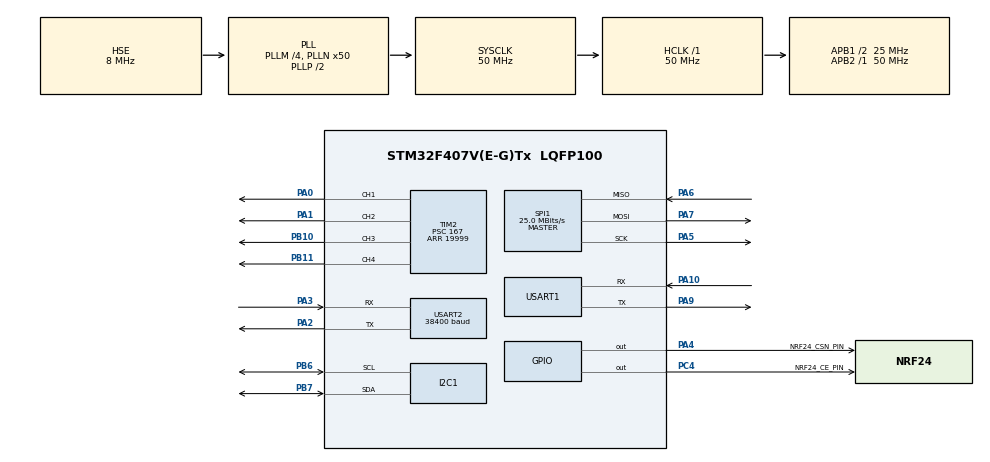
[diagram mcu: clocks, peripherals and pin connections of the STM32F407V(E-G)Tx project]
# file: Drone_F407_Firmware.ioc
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Dma.I2C1_RX.0.Direction=DMA_PERIPH_TO_MEMORY
Dma.I2C1_RX.0.FIFOMode=DMA_FIFOMODE_DISABLE
Dma.I2C1_RX.0.Instance=DMA1_Stream0
Dma.I2C1_RX.0.MemDataAlignment=DMA_MDATAALIGN_BYTE
Dma.I2C1_RX.0.MemInc=DMA_MINC_ENABLE
Dma.I2C1_RX.0.Mode=DMA_NORMAL
Dma.I2C1_RX.0.PeriphDataAlignment=DMA_PDATAALIGN_BYTE
Dma.I2C1_RX.0.PeriphInc=DMA_PINC_DISABLE
Dma.I2C1_RX.0.Priority=DMA_PRIORITY_LOW
Dma.I2C1_TX.1.Direction=DMA_MEMORY_TO_PERIPH
Dma.I2C1_TX.1.FIFOMode=DMA_FIFOMODE_DISABLE
Dma.I2C1_TX.1.Instance=DMA1_Stream7
Dma.I2C1_TX.1.MemDataAlignment=DMA_MDATAALIGN_BYTE
Dma.I2C1_TX.1.MemInc=DMA_MINC_ENABLE
Dma.I2C1_TX.1.Mode=DMA_NORMAL
Dma.I2C1_TX.1.PeriphDataAlignment=DMA_PDATAALIGN_BYTE
Dma.I2C1_TX.1.PeriphInc=DMA_PINC_DISABLE
Dma.I2C1_TX.1.Priority=DMA_PRIORITY_LOW
Dma.Request0=I2C1_RX
Dma.Request1=I2C1_TX
Dma.Request2=USART1_RX
Dma.Request3=USART1_TX
Dma.Request4=USART2_RX
Dma.Request5=USART2_TX
Dma.USART1_RX.2.Direction=DMA_PERIPH_TO_MEMORY
Dma.USART1_RX.2.FIFOMode=DMA_FIFOMODE_DISABLE
Dma.USART1_RX.2.Instance=DMA2_Stream2
Dma.USART1_RX.2.MemDataAlignment=DMA_MDATAALIGN_BYTE
Dma.USART1_RX.2.MemInc=DMA_MINC_ENABLE
Dma.USART1_RX.2.Mode=DMA_NORMAL
Dma.USART1_RX.2.PeriphDataAlignment=DMA_PDATAALIGN_BYTE
Dma.USART1_RX.2.PeriphInc=DMA_PINC_DISABLE
Dma.USART1_RX.2.Priority=DMA_PRIORITY_LOW
Dma.USART1_TX.3.Direction=DMA_MEMORY_TO_PERIPH
Dma.USART1_TX.3.FIFOMode=DMA_FIFOMODE_DISABLE
Dma.USART1_TX.3.Instance=DMA2_Stream7
Dma.USART1_TX.3.MemDataAlignment=DMA_MDATAALIGN_BYTE
Dma.USART1_TX.3.MemInc=DMA_MINC_ENABLE
Dma.USART1_TX.3.Mode=DMA_NORMAL
Dma.USART1_TX.3.PeriphDataAlignment=DMA_PDATAALIGN_BYTE
Dma.USART1_TX.3.PeriphInc=DMA_PINC_DISABLE
Dma.USART1_TX.3.Priority=DMA_PRIORITY_LOW
Dma.USART2_RX.4.Direction=DMA_PERIPH_TO_MEMORY
Dma.USART2_RX.4.FIFOMode=DMA_FIFOMODE_DISABLE
Dma.USART2_RX.4.Instance=DMA1_Stream5
Dma.USART2_RX.4.MemDataAlignment=DMA_MDATAALIGN_BYTE
Dma.USART2_RX.4.MemInc=DMA_MINC_ENABLE
Dma.USART2_RX.4.Mode=DMA_NORMAL
Dma.USART2_RX.4.PeriphDataAlignment=DMA_PDATAALIGN_BYTE
Dma.USART2_RX.4.PeriphInc=DMA_PINC_DISABLE
Dma.USART2_RX.4.Priority=DMA_PRIORITY_LOW
Dma.USART2_TX.5.Direction=DMA_MEMORY_TO_PERIPH
Dma.USART2_TX.5.FIFOMode=DMA_FIFOMODE_DISABLE
Dma.USART2_TX.5.Instance=DMA1_Stream6
Dma.USART2_TX.5.MemDataAlignment=DMA_MDATAALIGN_BYTE
Dma.USART2_TX.5.MemInc=DMA_MINC_ENABLE
Dma.USART2_TX.5.Mode=DMA_NORMAL
Dma.USART2_TX.5.PeriphDataAlignment=DMA_PDATAALIGN_BYTE
Dma.USART2_TX.5.PeriphInc=DMA_PINC_DISABLE
Dma.USART2_TX.5.Priority=DMA_PRIORITY_LOW
FREERTOS.Tasks01=defaultTask,0,128,StartDefaultTask,Default,NULL,Dynamic,NULL,NULL
FREERTOS.configTOTAL_HEAP_SIZE=16384
Mcu.Family=STM32F4
Mcu.Name=STM32F407V(E-G)Tx
Mcu.Package=LQFP100
NVIC.DMA1_Stream0_IRQn=true\:5\:0\:false\:false\:true\:true\:false\:true\:true
NVIC.DMA1_Stream5_IRQn=true\:5\:0\:false\:false\:true\:true\:false\:true\:true
NVIC.DMA1_Stream6_IRQn=true\:5\:0\:false\:false\:true\:true\:false\:true\:true
NVIC.DMA1_Stream7_IRQn=true\:5\:0\:false\:false\:true\:false\:false\:true\:true
NVIC.DMA2_Stream2_IRQn=true\:5\:0\:false\:false\:true\:true\:false\:true\:true
NVIC.DMA2_Stream7_IRQn=true\:5\:0\:false\:false\:true\:true\:false\:true\:true
NVIC.PriorityGroup=NVIC_PRIORITYGROUP_4
NVIC.TIM7_IRQn=true\:15\:0\:false\:false\:true\:false\:false\:true\:true
NVIC.TimeBase=TIM7_IRQn
NVIC.TimeBaseIP=TIM7
NVIC.USART1_IRQn=true\:5\:0\:false\:false\:true\:true\:false\:true\:true
NVIC.USART2_IRQn=true\:5\:0\:false\:false\:true\:true\:false\:true\:true
PA0-WKUP.Signal=S_TIM2_CH1_ETR
PA1.Signal=S_TIM2_CH2
PA10.Mode=Asynchronous
PA10.Signal=USART1_RX
PA13.Mode=Serial_Wire
PA13.Signal=SYS_JTMS-SWDIO
PA14.Mode=Serial_Wire
PA14.Signal=SYS_JTCK-SWCLK
PA2.Mode=Asynchronous
PA2.Signal=USART2_TX
PA3.Mode=Asynchronous
PA3.Signal=USART2_RX
PA4.GPIO_Label=NRF24_CSN_PIN
PA4.Signal=GPIO_Output
PA5.Mode=Full_Duplex_Master
PA5.Signal=SPI1_SCK
PA6.Mode=Full_Duplex_Master
PA6.Signal=SPI1_MISO
PA7.Mode=Full_Duplex_Master
PA7.Signal=SPI1_MOSI
PA9.Mode=Asynchronous
PA9.Signal=USART1_TX
PB10.Signal=S_TIM2_CH3
PB11.Signal=S_TIM2_CH4
PB6.Mode=I2C
PB6.Signal=I2C1_SCL
PB7.Mode=I2C
PB7.Signal=I2C1_SDA
PC4.GPIO_Label=NRF24_CE_PIN
PC4.Signal=GPIO_Output
PH0-OSC_IN.Mode=HSE-External-Oscillator
PH0-OSC_IN.Signal=RCC_OSC_IN
PH1-OSC_OUT.Mode=HSE-External-Oscillator
PH1-OSC_OUT.Signal=RCC_OSC_OUT
ProjectManager.HeapSize=0x200
ProjectManager.StackSize=0x400
ProjectManager.TargetToolchain=CMake
RCC.48MHZClocksFreq_Value=25000000
RCC.AHBFreq_Value=50000000
RCC.APB1CLKDivider=RCC_HCLK_DIV2
RCC.APB1Freq_Value=25000000
RCC.APB1TimFreq_Value=50000000
RCC.APB2Freq_Value=50000000
RCC.APB2TimFreq_Value=50000000
RCC.CortexFreq_Value=50000000
RCC.HCLKFreq_Value=50000000
RCC.HSE_VALUE=8000000
RCC.HSI_VALUE=16000000
RCC.LSE_VALUE=32768
RCC.PLLM=4
RCC.PLLN=50
RCC.PLLSourceVirtual=RCC_PLLSOURCE_HSE
RCC.SYSCLKFreq_VALUE=50000000
RCC.SYSCLKSource=RCC_SYSCLKSOURCE_PLLCLK
RCC.VCOOutputFreq_Value=100000000
SH.S_TIM2_CH1_ETR.0=TIM2_CH1,PWM Generation1 CH1
SH.S_TIM2_CH2.0=TIM2_CH2,PWM Generation2 CH2
SH.S_TIM2_CH3.0=TIM2_CH3,PWM Generation3 CH3
SH.S_TIM2_CH4.0=TIM2_CH4,PWM Generation4 CH4
SPI1.CalculateBaudRate=25.0 MBits/s
SPI1.Direction=SPI_DIRECTION_2LINES
SPI1.Mode=SPI_MODE_MASTER
SPI1.VirtualType=VM_MASTER
TIM2.Channel-PWM\ Generation1\ CH1=TIM_CHANNEL_1
TIM2.Channel-PWM\ Generation2\ CH2=TIM_CHANNEL_2
TIM2.Channel-PWM\ Generation3\ CH3=TIM_CHANNEL_3
TIM2.Channel-PWM\ Generation4\ CH4=TIM_CHANNEL_4
TIM2.Period=19999
TIM2.Prescaler=167
USART1.VirtualMode=VM_ASYNC
USART2.BaudRate=38400
USART2.VirtualMode=VM_ASYNC
VP_FREERTOS_VS_CMSIS_V1.Mode=CMSIS_V1
VP_SYS_VS_tim7.Mode=TIM7
VP_TIM2_VS_ClockSourceINT.Mode=Internal
board=custom

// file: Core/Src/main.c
/* USER CODE BEGIN Header */
/**
 ******************************************************************************
 * @file           : main.c
 * @brief          : Main program body
 ******************************************************************************
 * @attention
 *
 * Copyright (c) 2025 STMicroelectronics.
 * All rights reserved.
 *
 * This software is licensed under terms that can be found in the LICENSE file
 * in the root directory of this software component.
 * If no LICENSE file comes with this software, it is provided AS-IS.
 *
 ******************************************************************************
 */
/* USER CODE END Header */
#include "main.h"
#include "cmsis_os.h"
#include "dma.h"
#include "i2c.h"
#include "spi.h"
#include "tim.h"
#include "usart.h"
#include "gpio.h"

/* USER CODE BEGIN Includes */
#include "logger.h"
#include "neo_m10.h"
#include "mpu9250_i2c_driver.h"

/* USER CODE END Includes */

/* USER CODE BEGIN PV */
#define DMA_RX_BUFFER_SIZE 2048
uint8_t dma_rx_buffer[DMA_RX_BUFFER_SIZE];
volatile uint16_t dma_rx_size = 0;
extern osSemaphoreId gpsDataSemHandle;
/* USER CODE END PV */

void SystemClock_Config(void);
void MX_FREERTOS_Init(void);
/* USER CODE BEGIN PFP */
//void logger_task(void *argument);

/* USER CODE END PFP */

/* USER CODE BEGIN 0 */
void HAL_UARTEx_RxEventCallback(UART_HandleTypeDef *huart, uint16_t Size)
{
    if (huart->Instance == USART2)
    {
        // Lưu lại kích thước dữ liệu đã nhận
        dma_rx_size = Size;

        // Bắt đầu lại DMA để nhận dữ liệu tiếp theo
        HAL_UARTEx_ReceiveToIdle_DMA(&huart2, dma_rx_buffer, DMA_RX_BUFFER_SIZE);

        // Giải phóng semaphore để đánh thức task xử lý GPS
        // Sử dụng phiên bản an toàn cho ISR
        osSemaphoreRelease(gpsDataSemHandle);
    }
}

/* USER CODE END 0 */

int main(void)
{

  /* MCU Configuration--------------------------------------------------------*/

  /* Reset of all peripherals, Initializes the Flash interface and the Systick. */
  HAL_Init();

  /* Configure the system clock */
  SystemClock_Config();

  /* Initialize all configured peripherals */
  MX_GPIO_Init();
  MX_DMA_Init();
  MX_I2C1_Init();
  MX_USART1_UART_Init();
  MX_USART2_UART_Init();
  MX_SPI1_Init();
  MX_TIM2_Init();
  /* USER CODE BEGIN 2 */
  logger_init();
  neo_m10_init();
  if (!mpu9250_init()) {
      logger_log("MPU9250 HARDWARE ERROR!\r\n");
      // Dừng chương trình ở đây nếu có lỗi phần cứng
      while(1) {
          // HAL_GPIO_TogglePin(LED_GPIO_Port, LED_Pin); // Giả sử có 1 LED để báo lỗi
          // HAL_Delay(100);
      }
  }

  HAL_UARTEx_ReceiveToIdle_DMA(&huart2, dma_rx_buffer, DMA_RX_BUFFER_SIZE);
  /* USER CODE END 2 */

  /* Call init function for freertos objects (in cmsis_os2.c) */
  MX_FREERTOS_Init();

  /* Start scheduler */
  osKernelStart();

  /* We should never get here as control is now taken by the scheduler */

  /* Infinite loop */
  while (1) {

  }
}

void SystemClock_Config(void)
{
  RCC_OscInitTypeDef RCC_OscInitStruct = {0};
  RCC_ClkInitTypeDef RCC_ClkInitStruct = {0};

  /** Configure the main internal regulator output voltage
  */
  __HAL_RCC_PWR_CLK_ENABLE();
  __HAL_PWR_VOLTAGESCALING_CONFIG(PWR_REGULATOR_VOLTAGE_SCALE1);

  /** Initializes the RCC Oscillators according to the specified parameters
  * in the RCC_OscInitTypeDef structure.
  */
  RCC_OscInitStruct.OscillatorType = RCC_OSCILLATORTYPE_HSE;
  RCC_OscInitStruct.HSEState = RCC_HSE_ON;
  RCC_OscInitStruct.PLL.PLLState = RCC_PLL_ON;
  RCC_OscInitStruct.PLL.PLLSource = RCC_PLLSOURCE_HSE;
  RCC_OscInitStruct.PLL.PLLM = 4;
  RCC_OscInitStruct.PLL.PLLN = 50;
  RCC_OscInitStruct.PLL.PLLP = RCC_PLLP_DIV2;
  RCC_OscInitStruct.PLL.PLLQ = 4;
  if (HAL_RCC_OscConfig(&RCC_OscInitStruct) != HAL_OK)
  {
    Error_Handler();
  }

  /** Initializes the CPU, AHB and APB buses clocks
  */
  RCC_ClkInitStruct.ClockType = RCC_CLOCKTYPE_HCLK|RCC_CLOCKTYPE_SYSCLK
                              |RCC_CLOCKTYPE_PCLK1|RCC_CLOCKTYPE_PCLK2;
  RCC_ClkInitStruct.SYSCLKSource = RCC_SYSCLKSOURCE_PLLCLK;
  RCC_ClkInitStruct.AHBCLKDivider = RCC_SYSCLK_DIV1;
  RCC_ClkInitStruct.APB1CLKDivider = RCC_HCLK_DIV2;
  RCC_ClkInitStruct.APB2CLKDivider = RCC_HCLK_DIV1;

  if (HAL_RCC_ClockConfig(&RCC_ClkInitStruct, FLASH_LATENCY_1) != HAL_OK)
  {
    Error_Handler();
  }
}

void HAL_TIM_PeriodElapsedCallback(TIM_HandleTypeDef *htim)
{
  if (htim->Instance == TIM7)
  {
    HAL_IncTick();
  }
}

void Error_Handler(void)
{
  __disable_irq();
  while (1) {
  }
}
#ifdef USE_FULL_ASSERT
/**
  * @brief  Reports the name of the source file and the source line number
  *         where the assert_param error has occurred.
  * @param  file: pointer to the source file name
  * @param  line: assert_param error line source number
  * @retval None
  */
void assert_failed(uint8_t *file, uint32_t line)
{
  /* USER CODE BEGIN 6 */
  /* User can add his own implementation to report the file name and line
     number, ex: printf("Wrong parameters value: file %s on line %d\r\n", file,
     line) */
  /* USER CODE END 6 */
}
#endif /* USE_FULL_ASSERT */

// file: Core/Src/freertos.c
/* USER CODE BEGIN Header */
/**
 ******************************************************************************
 * File Name          : freertos.c
 * Description        : Code for freertos applications
 ******************************************************************************
 * @attention
 *
 * Copyright (c) 2025 STMicroelectronics.
 * All rights reserved.
 *
 * This software is licensed under terms that can be found in the LICENSE file
 * in the root directory of this software component.
 * If no LICENSE file comes with this software, it is provided AS-IS.
 *
 ******************************************************************************
 */
/* USER CODE END Header */

#include "FreeRTOS.h"
#include "cmsis_os.h"
#include "main.h"
#include "task.h"

/* USER CODE BEGIN Includes */
#include "logger.h"
#include "neo_m10.h"
#include "mpu9250_i2c_driver.h"
/* USER CODE END Includes */

/* USER CODE BEGIN PTD */
void logger_task(void *argument);
void gps_processing_task(void *argument);
void imu_task(void *argument);
/* USER CODE END PTD */

/* USER CODE BEGIN Variables */
osThreadId gpsProcessingTaskHandle;
osSemaphoreId gpsDataSemHandle;
/* USER CODE END Variables */
osThreadId defaultTaskHandle;
osThreadId imuTaskHandle;

void StartDefaultTask(void const *argument);

void MX_FREERTOS_Init(void); /* (MISRA C 2004 rule 8.1) */

/* GetIdleTaskMemory prototype (linked to static allocation support) */
void vApplicationGetIdleTaskMemory(StaticTask_t **ppxIdleTaskTCBBuffer,
                                   StackType_t **ppxIdleTaskStackBuffer,
                                   uint32_t *pulIdleTaskStackSize);

/* USER CODE BEGIN GET_IDLE_TASK_MEMORY */
static StaticTask_t xIdleTaskTCBBuffer;
static StackType_t xIdleStack[configMINIMAL_STACK_SIZE];

void vApplicationGetIdleTaskMemory(StaticTask_t **ppxIdleTaskTCBBuffer,
                                   StackType_t **ppxIdleTaskStackBuffer,
                                   uint32_t *pulIdleTaskStackSize) {
  *ppxIdleTaskTCBBuffer = &xIdleTaskTCBBuffer;
  *ppxIdleTaskStackBuffer = &xIdleStack[0];
  *pulIdleTaskStackSize = configMINIMAL_STACK_SIZE;
  /* place for user code */
}
/* USER CODE END GET_IDLE_TASK_MEMORY */

void MX_FREERTOS_Init(void) {

  /* USER CODE BEGIN RTOS_SEMAPHORES */
  /* add semaphores, ... */
  osSemaphoreDef(gpsDataSem);
  gpsDataSemHandle = osSemaphoreCreate(osSemaphore(gpsDataSem), 1);
  osSemaphoreWait(gpsDataSemHandle, 0);
  /* USER CODE END RTOS_SEMAPHORES */

  /* Create the thread(s) */
  /* definition and creation of defaultTask */
  osThreadDef(defaultTask, StartDefaultTask, osPriorityNormal, 0, 128);
  defaultTaskHandle = osThreadCreate(osThread(defaultTask), NULL);

  /* USER CODE BEGIN RTOS_THREADS */
  /* add threads, ... */
  osThreadDef(logger, logger_task, osPriorityLow, 0, 256);
  osThreadCreate(osThread(logger), NULL);

  // Định nghĩa và tạo task xử lý GPS mới
  osThreadDef(gps_processing, gps_processing_task, osPriorityNormal, 0, 512);
  gpsProcessingTaskHandle = osThreadCreate(osThread(gps_processing), NULL);

  osThreadDef(imu, imu_task, osPriorityHigh, 0, 512); // Ưu tiên cao cho IMU
  imuTaskHandle = osThreadCreate(osThread(imu), NULL);
  /* USER CODE END RTOS_THREADS */
}

void StartDefaultTask(void const *argument) {
  for (;;) {
    osDelay(1);
  }
}

/* USER CODE BEGIN Application */
void logger_task(void *argument) {
    gps_data_t current_gps_data;

    for(;;) {
        if (neo_m10_get_data(&current_gps_data)) {
            if (current_gps_data.data_valid) {
                 logger_log("GPS Fix: YES, Sats: %d, Lat: %f, Lon: %f, Alt: %.2f\r\n",
                           current_gps_data.satellites_tracked,
                           current_gps_data.latitude,
                           current_gps_data.longitude,
                           current_gps_data.altitude);
            } else {
                logger_log("GPS Fix: NO, Sats: %d\r\n", current_gps_data.satellites_tracked);
            }
        }
        osDelay(1000); // Tần suất log ra thông tin đã xử lý
    }
}

// Buffer nhận dữ liệu DMA và kích thước dữ liệu nhận được
// Chúng sẽ được cập nhật trong callback và được xử lý trong task này
extern uint8_t dma_rx_buffer[];
extern volatile uint16_t dma_rx_size;

/**
 * @brief Task chuyên xử lý buffer NMEA nhận được từ DMA.
 * @param argument: Không dùng
 * @retval None
 */
void gps_processing_task(void *argument) {
    for(;;) {
        // Đợi tín hiệu từ callback DMA báo rằng đã có dữ liệu mới
        if (osSemaphoreWait(gpsDataSemHandle, osWaitForever) == osOK) {
            // Có dữ liệu mới, gọi hàm xử lý buffer
            if (dma_rx_size > 0) {
                neo_m10_process_buffer(dma_rx_buffer, dma_rx_size);
            }
        }
    }
}

void imu_task(void *argument) {
    imu_data_t current_imu_data;
    osDelay(500);

    for(;;) {
        if (mpu9250_read_data(&current_imu_data)) {
            logger_log("A(g):%.2f,%.2f,%.2f G(dps):%.2f,%.2f,%.2f Tmp:%.2f \r\n",
                       current_imu_data.accel[0], current_imu_data.accel[1], current_imu_data.accel[2],
                       current_imu_data.gyro[0], current_imu_data.gyro[1], current_imu_data.gyro[2], current_imu_data.temp);
        } else {
            logger_log("Failed to read MPU6500 data.\r\n");
        }

        osDelay(10);
    }
}
/* USER CODE END Application */
